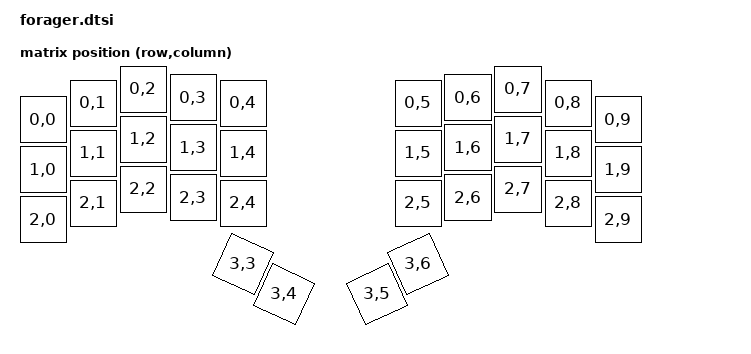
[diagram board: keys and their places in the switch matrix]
#include <dt-bindings/zmk/matrix_transform.h>
#include <physical_layouts.dtsi>

/ {
    chosen {
        zmk,kscan = &kscan0;
        zmk,physical-layout = &default_layout;
    };

    kscan0: kscan_0 {
        compatible = "zmk,kscan-gpio-matrix";
        diode-direction = "col2row";
        wakeup-source;
    };

    default_layout: default_layout {
        compatible = "zmk,physical-layout";
        display-name = "Default Layout";
        transform = <&default_transform>;

        keys  //                     w   h    x    y     rot    rx    ry
            = <&key_physical_attrs 100 100    0   61       0     0     0>
            , <&key_physical_attrs 100 100  100   28       0     0     0>
            , <&key_physical_attrs 100 100  200    0       0     0     0>
            , <&key_physical_attrs 100 100  300   17       0     0     0>
            , <&key_physical_attrs 100 100  400   28       0     0     0>
            , <&key_physical_attrs 100 100  750   28       0     0     0>
            , <&key_physical_attrs 100 100  850   17       0     0     0>
            , <&key_physical_attrs 100 100  950    0       0     0     0>
            , <&key_physical_attrs 100 100 1050   28       0     0     0>
            , <&key_physical_attrs 100 100 1150   61       0     0     0>
            , <&key_physical_attrs 100 100    0  161       0     0     0>
            , <&key_physical_attrs 100 100  100  128       0     0     0>
            , <&key_physical_attrs 100 100  200  100       0     0     0>
            , <&key_physical_attrs 100 100  300  117       0     0     0>
            , <&key_physical_attrs 100 100  400  128       0     0     0>
            , <&key_physical_attrs 100 100  750  128       0     0     0>
            , <&key_physical_attrs 100 100  850  117       0     0     0>
            , <&key_physical_attrs 100 100  950  100       0     0     0>
            , <&key_physical_attrs 100 100 1050  128       0     0     0>
            , <&key_physical_attrs 100 100 1150  161       0     0     0>
            , <&key_physical_attrs 100 100    0  261       0     0     0>
            , <&key_physical_attrs 100 100  100  228       0     0     0>
            , <&key_physical_attrs 100 100  200  200       0     0     0>
            , <&key_physical_attrs 100 100  300  217       0     0     0>
            , <&key_physical_attrs 100 100  400  228       0     0     0>
            , <&key_physical_attrs 100 100  750  228       0     0     0>
            , <&key_physical_attrs 100 100  850  217       0     0     0>
            , <&key_physical_attrs 100 100  950  200       0     0     0>
            , <&key_physical_attrs 100 100 1050  228       0     0     0>
            , <&key_physical_attrs 100 100 1150  261       0     0     0>
            , <&key_physical_attrs 100 100  400  350    2500   450   400>
            , <&key_physical_attrs 100 100  500  370    2500   450   400>
            , <&key_physical_attrs 100 100  650  370  (-2500)  800   400>
            , <&key_physical_attrs 100 100  750  350  (-2500)  800   400>
            ;
    };

    default_transform: keymap_transform_0 {
        compatible = "zmk,matrix-transform";
        columns = <10>;
        rows = <4>;

        map = <
            RC(0,0)         RC(0,1)         RC(0,2)         RC(0,3)         RC(0,4)                                         RC(0,5)         RC(0,6)         RC(0,7)         RC(0,8)         RC(0,9)
            RC(1,0)         RC(1,1)         RC(1,2)         RC(1,3)         RC(1,4)                                         RC(1,5)         RC(1,6)         RC(1,7)         RC(1,8)         RC(1,9)
            RC(2,0)         RC(2,1)         RC(2,2)         RC(2,3)         RC(2,4)                                         RC(2,5)         RC(2,6)         RC(2,7)         RC(2,8)         RC(2,9)
                                                                            RC(3,3)         RC(3,4)         RC(3,5)         RC(3,6)
        >;
    };
};

&xiao_serial {
    status = "disabled";
};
